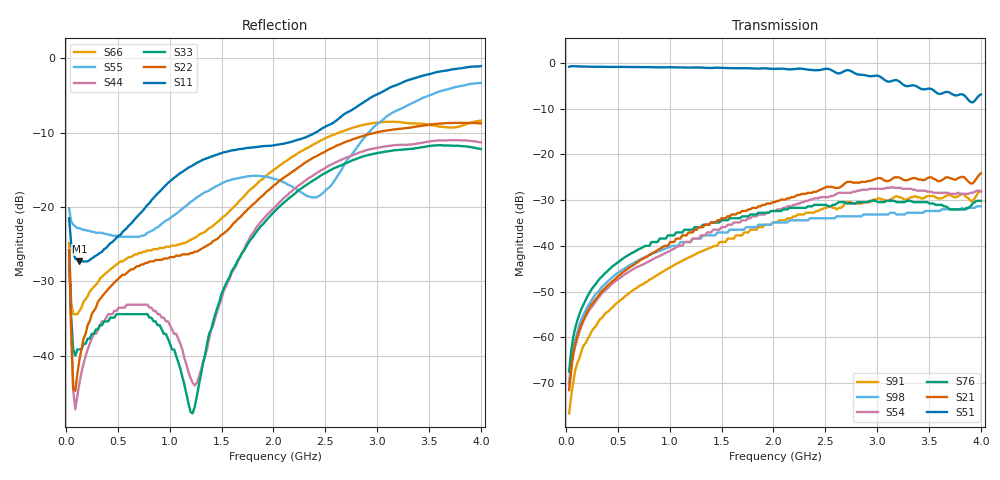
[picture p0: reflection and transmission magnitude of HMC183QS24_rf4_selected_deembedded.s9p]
!Hittite Microwave Corporation
!12 Elizabeth Drive
!Chelmsford, MA 01824
!Tel: 978-250-3343
!Fax: 978-250-3373
!Device: HMC183QS24, DC-2 GHz GaAS MMIC SP8T Non-Reflective Switch in 24-lead QSOP package
!Misc: Port 1 = RFCom, Port 2 = RF1, Port 3 = RF2, Port 4 = RF3, Port 5 = RF4, Port 6 = RF5, Port 7 = RF6, Port 8 = RF7, Port 9 = RF8, RF4 selected, Vctl=0/-5V
# MHZ S MA R 50
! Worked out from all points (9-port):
!   201 points, 30 MHz to 4 GHz, reference 50 ohm
!   strongest paths, dB at 30 MHz, 1.022 GHz, 2.015 GHz, 3.007 GHz, 4 GHz:
!     S51: -0.9, -1.0, -1.3, -2.8, -6.9
!     S21: -71.6, -39.2, -30.5, -25.2, -24.2
!     S76: -67.5, -37.7, -32.4, -30.5, -30.2
!     S54: -70.4, -40.8, -32.4, -27.5, -28.2
!     S98: -69.8, -40.0, -34.9, -33.2, -31.4
!     S91: -76.6, -44.5, -34.9, -29.6, -28.0
!   lowest |S11| = -27.3 dB at 129.2 MHz (marker M1), VSWR 1.09, Z = 54.2 - j1.49 ohm
!   |S11| at or under -10 dB: start of sweep to 2.405 GHz
